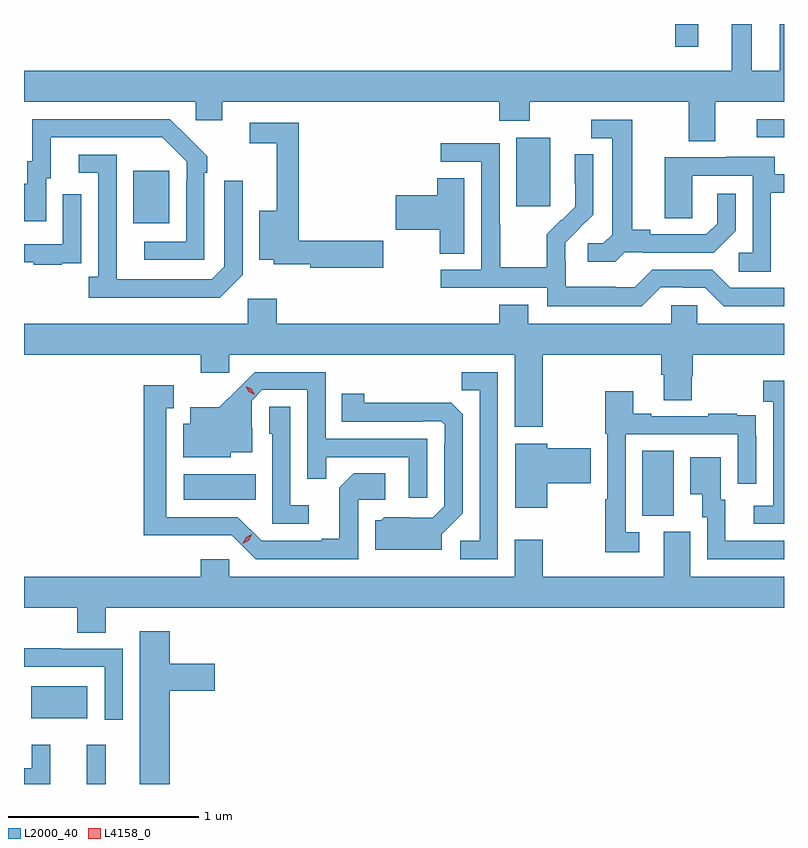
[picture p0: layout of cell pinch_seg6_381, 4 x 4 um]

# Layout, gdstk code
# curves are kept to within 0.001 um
import gdstk
lib = gdstk.Library(unit=1e-6, precision=1e-09)
def R(c, l, rs):  # rectangles x0, y0, x1, y1
    for r in rs: c.add(gdstk.rectangle(r[:2], r[2:], *l))
def P(c, l, *ps):  # polygons
    for p in ps: c.add(gdstk.Polygon(p, *l))
L2000_40 = (2000, 40)
L4158_0 = (4158, 0)

pinch_seg6_381 = lib.new_cell('pinch_seg6_381')
R(pinch_seg6_381, L2000_40, [(659.897,925.097,659.996,925.303), (659.606,925.442,659.899,925.612), (662.822,926.509,662.986,926.852), (660.408,926.594,660.788,926.728), (660.143,928.049,660.331,928.324), (662.159,928.137,662.338,928.498), (663.423,928.5,663.567,928.596), (662.994,928.977,663.115,929.097)])
P(pinch_seg6_381, L2000_40, [(663.205,928.688),(663.567,928.688),(663.567,929.097),(663.545,929.097),(663.545,928.852),(663.397,928.852),(663.397,929.097),(663.293,929.097),(663.293,928.852),(659.567,928.852),(659.567,928.688),(660.471,928.688),(660.471,928.59),(660.61,928.59),(660.61,928.688),(662.069,928.688),(662.069,928.589),(662.229,928.589),(662.229,928.688),(663.065,928.688),(663.065,928.48),(663.205,928.48)],
  [(660.516,928.313),(660.531,928.313),(660.531,928.401),(660.334,928.596),(659.61,928.596),(659.61,928.374),(659.585,928.374),(659.585,928.255),(659.567,928.255),(659.567,928.059),(659.683,928.059),(659.683,928.284),(659.707,928.284),(659.707,928.5),(660.295,928.5),(660.423,928.371),(660.423,928.271),(660.42,928.271),(660.42,927.951),(660.201,927.951),(660.201,927.855),(660.516,927.855)],
  [(662.73,927.897),(662.824,927.897),(662.824,927.894),(663.196,927.894),(663.312,928.01),(663.312,928.204),(663.215,928.204),(663.215,928.047),(663.158,927.99),(662.863,927.99),(662.863,928.013),(662.767,928.013),(662.767,928.593),(662.553,928.593),(662.553,928.497),(662.663,928.497),(662.663,927.989),(662.616,927.942),(662.535,927.942),(662.535,927.845),(662.678,927.845)],
  [(661.459,927.956),(661.013,927.956),(661.013,928.578),(660.756,928.578),(660.756,928.47),(660.896,928.47),(660.896,928.114),(660.806,928.114),(660.806,927.857),(660.882,927.857),(660.882,927.833),(661.074,927.833),(661.074,927.814),(661.459,927.814)],
  [(662.919,927.711),(663.035,927.711),(663.035,927.708),(663.153,927.708),(663.249,927.612),(663.567,927.612),(663.567,927.708),(663.285,927.708),(663.189,927.804),(662.874,927.804),(662.781,927.711),(662.681,927.711),(662.681,927.715),(662.418,927.715),(662.418,927.849),(662.416,927.849),(662.416,927.946),(662.562,928.094),(662.562,928.412),(662.466,928.412),(662.466,928.258),(662.468,928.258),(662.468,928.136),(662.397,928.065),(662.394,928.068),(662.317,927.991),(662.317,927.817),(662.073,927.817),(662.073,928.04),(662.07,928.04),(662.07,928.47),(661.761,928.47),(661.761,928.371),(661.974,928.371),(661.974,927.804),(661.761,927.804),(661.761,927.708),(662.322,927.708),(662.322,927.611),(662.819,927.611)],
  [(660.717,927.777),(660.717,928.273),(660.621,928.273),(660.621,927.819),(660.555,927.753),(660.055,927.753),(660.054,928.41),(659.856,928.41),(659.856,928.314),(659.958,928.314),(659.958,927.766),(659.907,927.766),(659.907,927.656),(660.596,927.656)],
  [(663.498,928.209),(663.567,928.209),(663.567,928.305),(663.517,928.305),(663.517,928.399),(663.263,928.399),(663.263,928.395),(662.939,928.395),(662.939,928.075),(663.084,928.075),(663.084,928.299),(663.402,928.299),(663.402,927.894),(663.33,927.894),(663.33,927.793),(663.498,927.793)],
  [(661.885,928.286),(661.742,928.286),(661.742,928.196),(661.524,928.196),(661.524,928.013),(661.754,928.013),(661.754,927.889),(661.885,927.889)],
  [(659.765,927.837),(659.867,927.837),(659.867,927.946),(659.868,927.946),(659.868,928.201),(659.772,928.201),(659.772,927.939),(659.567,927.939),(659.567,927.843),(659.617,927.843),(659.617,927.831),(659.765,927.831)],
  [(662.973,927.52),(662.221,927.52),(662.221,927.619),(662.069,927.619),(662.069,927.52),(660.896,927.52),(660.896,927.652),(660.744,927.652),(660.744,927.52),(659.567,927.52),(659.567,927.356),(660.497,927.356),(660.497,927.261),(660.648,927.261),(660.648,927.356),(662.15,927.356),(662.15,926.976),(662.298,926.976),(662.298,927.356),(662.921,927.356),(662.921,927.25),(662.933,927.25),(662.933,927.118),(663.081,927.118),(663.081,927.243),(663.086,927.243),(663.086,927.356),(663.567,927.356),(663.567,927.52),(663.111,927.52),(663.111,927.618),(662.973,927.618)],
  [(662.061,927.264),(661.87,927.264),(661.87,927.169),(661.965,927.169),(661.965,926.376),(661.863,926.376),(661.863,926.28),(662.061,926.28)],
  [(661.689,926.913),(661.155,926.913),(661.155,927.264),(660.782,927.264),(660.595,927.079),(660.443,927.079),(660.443,926.992),(660.404,926.992),(660.404,926.816),(660.654,926.816),(660.654,926.843),(660.769,926.843),(660.769,926.972),(660.765,926.972),(660.765,927.114),(660.822,927.171),(661.059,927.171),(661.059,926.704),(661.157,926.704),(661.157,926.817),(661.593,926.817),(661.593,926.604),(661.689,926.604)],
  [(663.567,927.22),(663.459,927.22),(663.459,927.11),(663.51,927.11),(663.51,926.562),(663.408,926.562),(663.408,926.466),(663.567,926.466)],
  [(661.326,926.592),(661.468,926.592),(661.468,926.732),(661.303,926.732),(661.227,926.656),(661.227,926.389),(661.133,926.389),(661.133,926.376),(660.819,926.376),(660.693,926.502),(660.316,926.502),(660.316,927.075),(660.355,927.075),(660.355,927.196),(660.198,927.196),(660.198,926.405),(660.66,926.406),(660.786,926.28),(661.326,926.28)],
  [(662.806,926.421),(662.733,926.421),(662.733,926.937),(663.324,926.937),(663.324,926.676),(663.42,926.676),(663.42,926.93),(663.419,926.93),(663.419,927.039),(663.317,927.039),(663.317,927.046),(663.169,927.046),(663.169,927.033),(662.869,927.033),(662.869,927.046),(662.773,927.046),(662.773,927.163),(662.625,927.163),(662.625,926.94),(662.637,926.94),(662.637,926.597),(662.625,926.597),(662.625,926.316),(662.806,926.316)],
  [(661.765,926.412),(661.875,926.522),(661.875,927.044),(661.816,927.103),(661.359,927.104),(661.359,927.151),(661.24,927.151),(661.24,927.003),(661.664,927.003),(661.664,927.006),(661.764,927.006),(661.782,926.988),(661.782,926.888),(661.779,926.888),(661.779,926.559),(661.719,926.499),(661.462,926.5),(661.446,926.484),(661.415,926.484),(661.415,926.33),(661.765,926.33)],
  [(661.066,926.563),(660.969,926.563),(660.969,927.083),(660.858,927.083),(660.858,926.94),(660.873,926.94),(660.873,926.466),(661.066,926.466)],
  [(662.32,926.681),(662.551,926.681),(662.551,926.864),(662.32,926.864),(662.32,926.887),(662.153,926.887),(662.153,926.55),(662.32,926.55)],
  [(663.567,926.376),(663.259,926.376),(663.259,926.592),(663.235,926.592),(663.235,926.818),(663.074,926.818),(663.074,926.621),(663.137,926.621),(663.137,926.502),(663.162,926.502),(663.162,926.28),(663.567,926.28)],
  [(659.567,926.024),(659.846,926.024),(659.846,925.894),(659.998,925.894),(659.998,926.024),(663.567,926.024),(663.567,926.188),(663.073,926.188),(663.073,926.424),(662.933,926.424),(662.933,926.188),(662.298,926.188),(662.298,926.383),(662.15,926.383),(662.15,926.188),(660.648,926.188),(660.648,926.281),(660.497,926.281),(660.497,926.188),(659.567,926.188)],
  [(660.335,925.589),(660.571,925.589),(660.571,925.731),(660.335,925.731),(660.335,925.9),(660.176,925.9),(660.176,925.097),(660.335,925.097)],
  [(660.087,925.809),(659.762,925.809),(659.762,925.811),(659.567,925.811),(659.567,925.713),(659.991,925.713),(659.991,925.434),(660.087,925.434)],
  [(659.705,925.303),(659.607,925.303),(659.607,925.179),(659.567,925.179),(659.567,925.097),(659.705,925.097)])
P(pinch_seg6_381, L4158_0, [(660.781,927.147),(660.75,927.161),(660.733,927.191),(660.733,927.191),(660.733,927.191),(660.764,927.176),(660.781,927.147),(660.781,927.147)],
  [(660.718,926.362),(660.718,926.363),(660.736,926.395),(660.767,926.414),(660.768,926.414),(660.768,926.414),(660.75,926.381),(660.718,926.362)])

lib.write_gds('pinch_seg6_381.gds')
